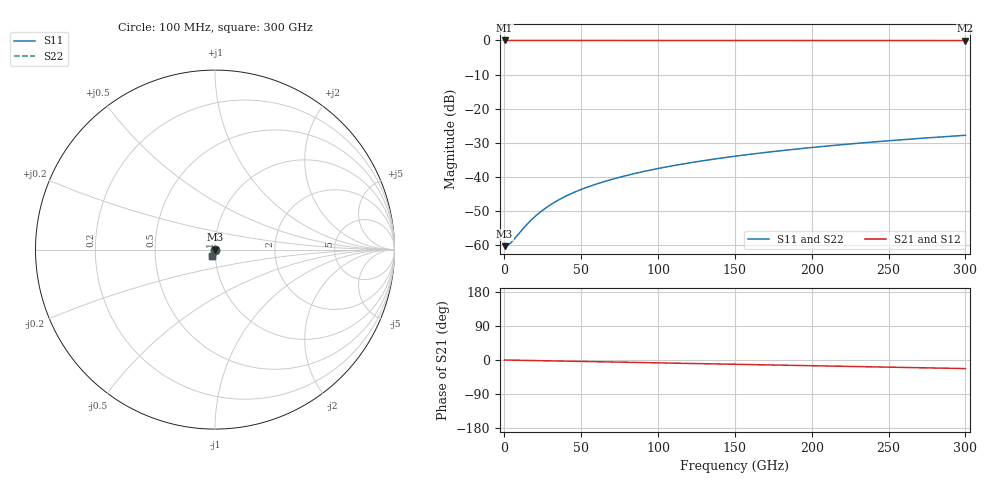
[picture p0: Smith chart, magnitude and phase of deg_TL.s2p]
#  Hz  S  RI  R  50
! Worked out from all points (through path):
!   3000 points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, 100 MHz to 300 GHz, reference 50 ohm
!   highest |S21| = -0.01 dB at 100 MHz (marker M1); lowest = 0.0 dB at 300 GHz (marker M2)
!   group delay of S21, straight-line fit = 210 fs
!   lowest |S11| = -60.2 dB at 100 MHz (marker M3), VSWR 1.00, Z = 50.1 - j0.00115 ohm
!   |S11| at or under -10 dB: start of sweep to end of sweep
!   |S22| runs from -60.2 to -27.8 dB; largest |S21 - S12| = 1.9e-07
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1e8  0.000972 -1.15e-05  0.999 -0.000134  0.999 -0.000134  0.000972 -1.15e-05
2e9  0.000974 -0.000229  0.999 -0.00269  0.999 -0.00269  0.000974 -0.000229
4.1e9  0.00098 -0.000471  0.999 -0.00551  0.999 -0.00551  0.00098 -0.000471
6.3e9  0.00099 -0.000727  0.9989 -0.00846  0.9989 -0.00846  0.00099 -0.000727
1.27e10  0.00104 -0.00149  0.9987 -0.017  0.9987 -0.017  0.00104 -0.00149
1.61e10  0.00107 -0.00192  0.9986 -0.0215  0.9986 -0.0215  0.00107 -0.00192
2.07e10  0.0011 -0.00251  0.9984 -0.0276  0.9984 -0.0276  0.0011 -0.00251
2.56e10  0.00112 -0.00316  0.9981 -0.034  0.9981 -0.034  0.00112 -0.00316
3.1e10  0.00112 -0.0039  0.9978 -0.041  0.9978 -0.041  0.00112 -0.0039
3.68e10  0.00109 -0.00471  0.9974 -0.0486  0.9974 -0.0486  0.00109 -0.00471
4.31e10  0.00103 -0.00558  0.997 -0.0569  0.997 -0.0569  0.00103 -0.00558
5.01e10  0.000917 -0.00654  0.9964 -0.066  0.9964 -0.066  0.000917 -0.00654
6.04e10  0.000712 -0.00795  0.9953 -0.0795  0.9953 -0.0795  0.000712 -0.00795
7.22e10  0.000429 -0.00954  0.9938 -0.0949  0.9938 -0.0949  0.000429 -0.00954
8.55e10  3.99e-05 -0.0113  0.9919 -0.1122  0.9919 -0.1122  4e-05 -0.0113
1.001e11  -0.00049 -0.0133  0.9894 -0.1312  0.9894 -0.1312  -0.00049 -0.0133
1.232e11  -0.00154 -0.0164  0.9848 -0.1612  0.9848 -0.1612  -0.00154 -0.0164
1.501e11  -0.00307 -0.02  0.9783 -0.1959  0.9783 -0.1959  -0.00307 -0.02
1.736e11  -0.00467 -0.0229  0.9715 -0.226  0.9715 -0.226  -0.00467 -0.0229
2.001e11  -0.00676 -0.0262  0.9628 -0.2597  0.9628 -0.2597  -0.00676 -0.0262
2.501e11  -0.0115 -0.032  0.943 -0.3224  0.943 -0.3224  -0.0115 -0.032
3e11  -0.0172 -0.037  0.919 -0.3835  0.919 -0.3835  -0.0172 -0.037
